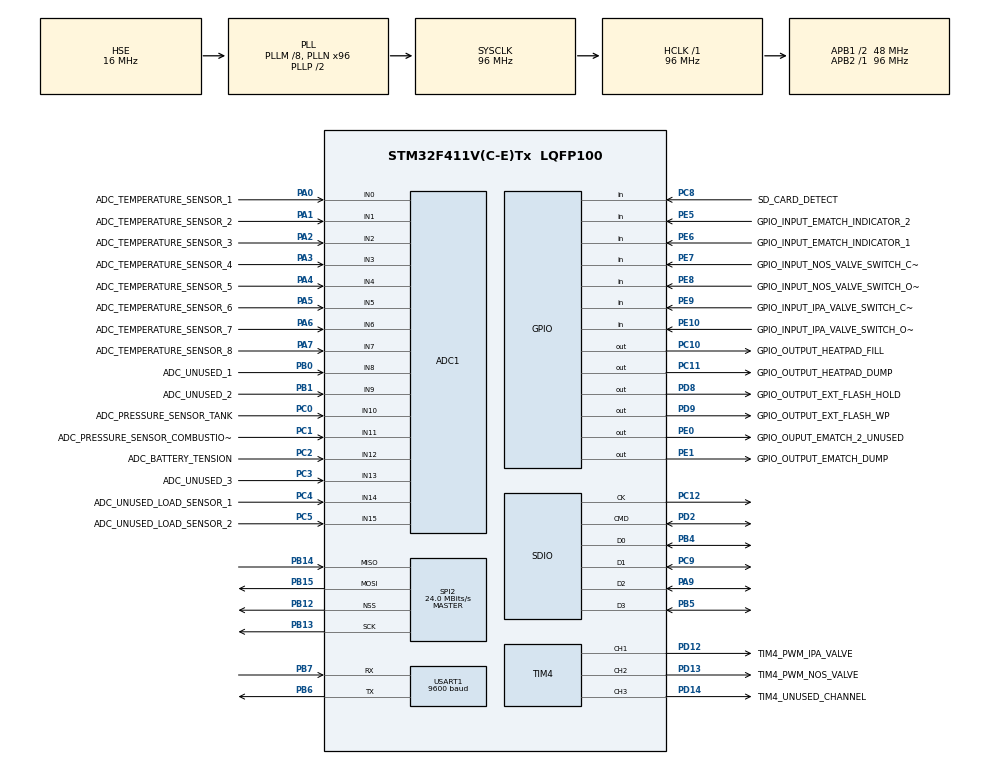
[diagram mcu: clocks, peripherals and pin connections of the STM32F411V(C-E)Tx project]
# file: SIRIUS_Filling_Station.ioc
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ADC1.Channel-0\#ChannelRegularConversion=ADC_CHANNEL_0
ADC1.Channel-1\#ChannelRegularConversion=ADC_CHANNEL_1
ADC1.Channel-10\#ChannelRegularConversion=ADC_CHANNEL_10
ADC1.Channel-11\#ChannelRegularConversion=ADC_CHANNEL_11
ADC1.Channel-12\#ChannelRegularConversion=ADC_CHANNEL_12
ADC1.Channel-13\#ChannelRegularConversion=ADC_CHANNEL_13
ADC1.Channel-14\#ChannelRegularConversion=ADC_CHANNEL_14
ADC1.Channel-15\#ChannelRegularConversion=ADC_CHANNEL_15
ADC1.Channel-2\#ChannelRegularConversion=ADC_CHANNEL_2
ADC1.Channel-3\#ChannelRegularConversion=ADC_CHANNEL_3
ADC1.Channel-4\#ChannelRegularConversion=ADC_CHANNEL_4
ADC1.Channel-5\#ChannelRegularConversion=ADC_CHANNEL_5
ADC1.Channel-6\#ChannelRegularConversion=ADC_CHANNEL_6
ADC1.Channel-7\#ChannelRegularConversion=ADC_CHANNEL_7
ADC1.Channel-8\#ChannelRegularConversion=ADC_CHANNEL_8
ADC1.Channel-9\#ChannelRegularConversion=ADC_CHANNEL_9
ADC1.ClockPrescaler=ADC_CLOCK_SYNC_PCLK_DIV4
ADC1.ContinuousConvMode=ENABLE
ADC1.DMAContinuousRequests=ENABLE
ADC1.NbrOfConversion=16
ADC1.NbrOfConversionFlag=1
ADC1.Rank-0\#ChannelRegularConversion=1
ADC1.Rank-1\#ChannelRegularConversion=2
ADC1.Rank-10\#ChannelRegularConversion=11
ADC1.Rank-11\#ChannelRegularConversion=12
ADC1.Rank-12\#ChannelRegularConversion=13
ADC1.Rank-13\#ChannelRegularConversion=14
ADC1.Rank-14\#ChannelRegularConversion=15
ADC1.Rank-15\#ChannelRegularConversion=16
ADC1.Rank-2\#ChannelRegularConversion=3
ADC1.Rank-3\#ChannelRegularConversion=4
ADC1.Rank-4\#ChannelRegularConversion=5
ADC1.Rank-5\#ChannelRegularConversion=6
ADC1.Rank-6\#ChannelRegularConversion=7
ADC1.Rank-7\#ChannelRegularConversion=8
ADC1.Rank-8\#ChannelRegularConversion=9
ADC1.Rank-9\#ChannelRegularConversion=10
ADC1.SamplingTime-0\#ChannelRegularConversion=ADC_SAMPLETIME_144CYCLES
ADC1.SamplingTime-1\#ChannelRegularConversion=ADC_SAMPLETIME_144CYCLES
ADC1.SamplingTime-10\#ChannelRegularConversion=ADC_SAMPLETIME_144CYCLES
ADC1.SamplingTime-11\#ChannelRegularConversion=ADC_SAMPLETIME_144CYCLES
ADC1.SamplingTime-12\#ChannelRegularConversion=ADC_SAMPLETIME_144CYCLES
ADC1.SamplingTime-13\#ChannelRegularConversion=ADC_SAMPLETIME_144CYCLES
ADC1.SamplingTime-14\#ChannelRegularConversion=ADC_SAMPLETIME_144CYCLES
ADC1.SamplingTime-15\#ChannelRegularConversion=ADC_SAMPLETIME_144CYCLES
ADC1.SamplingTime-2\#ChannelRegularConversion=ADC_SAMPLETIME_144CYCLES
ADC1.SamplingTime-3\#ChannelRegularConversion=ADC_SAMPLETIME_144CYCLES
ADC1.SamplingTime-4\#ChannelRegularConversion=ADC_SAMPLETIME_144CYCLES
ADC1.SamplingTime-5\#ChannelRegularConversion=ADC_SAMPLETIME_144CYCLES
ADC1.SamplingTime-6\#ChannelRegularConversion=ADC_SAMPLETIME_144CYCLES
ADC1.SamplingTime-7\#ChannelRegularConversion=ADC_SAMPLETIME_144CYCLES
ADC1.SamplingTime-8\#ChannelRegularConversion=ADC_SAMPLETIME_144CYCLES
ADC1.SamplingTime-9\#ChannelRegularConversion=ADC_SAMPLETIME_144CYCLES
ADC1.ScanConvMode=ENABLE
ADC1.master=1
Dma.ADC1.0.Direction=DMA_PERIPH_TO_MEMORY
Dma.ADC1.0.FIFOMode=DMA_FIFOMODE_DISABLE
Dma.ADC1.0.Instance=DMA2_Stream0
Dma.ADC1.0.MemDataAlignment=DMA_MDATAALIGN_HALFWORD
Dma.ADC1.0.MemInc=DMA_MINC_ENABLE
Dma.ADC1.0.Mode=DMA_CIRCULAR
Dma.ADC1.0.PeriphDataAlignment=DMA_PDATAALIGN_HALFWORD
Dma.ADC1.0.PeriphInc=DMA_PINC_DISABLE
Dma.ADC1.0.Priority=DMA_PRIORITY_HIGH
Dma.Request0=ADC1
Dma.Request1=USART1_RX
Dma.Request2=USART1_TX
Dma.Request3=SDIO_RX
Dma.Request4=SDIO_TX
Dma.SDIO_RX.3.Direction=DMA_PERIPH_TO_MEMORY
Dma.SDIO_RX.3.FIFOMode=DMA_FIFOMODE_ENABLE
Dma.SDIO_RX.3.FIFOThreshold=DMA_FIFO_THRESHOLD_FULL
Dma.SDIO_RX.3.Instance=DMA2_Stream6
Dma.SDIO_RX.3.MemBurst=DMA_MBURST_INC4
Dma.SDIO_RX.3.MemDataAlignment=DMA_MDATAALIGN_WORD
Dma.SDIO_RX.3.MemInc=DMA_MINC_ENABLE
Dma.SDIO_RX.3.Mode=DMA_PFCTRL
Dma.SDIO_RX.3.PeriphBurst=DMA_PBURST_INC4
Dma.SDIO_RX.3.PeriphDataAlignment=DMA_PDATAALIGN_WORD
Dma.SDIO_RX.3.PeriphInc=DMA_PINC_DISABLE
Dma.SDIO_RX.3.Priority=DMA_PRIORITY_LOW
Dma.SDIO_TX.4.Direction=DMA_MEMORY_TO_PERIPH
Dma.SDIO_TX.4.FIFOMode=DMA_FIFOMODE_ENABLE
Dma.SDIO_TX.4.FIFOThreshold=DMA_FIFO_THRESHOLD_FULL
Dma.SDIO_TX.4.Instance=DMA2_Stream3
Dma.SDIO_TX.4.MemBurst=DMA_MBURST_INC4
Dma.SDIO_TX.4.MemDataAlignment=DMA_MDATAALIGN_WORD
Dma.SDIO_TX.4.MemInc=DMA_MINC_ENABLE
Dma.SDIO_TX.4.Mode=DMA_PFCTRL
Dma.SDIO_TX.4.PeriphBurst=DMA_PBURST_INC4
Dma.SDIO_TX.4.PeriphDataAlignment=DMA_PDATAALIGN_WORD
Dma.SDIO_TX.4.PeriphInc=DMA_PINC_DISABLE
Dma.SDIO_TX.4.Priority=DMA_PRIORITY_VERY_HIGH
Dma.USART1_RX.1.Direction=DMA_PERIPH_TO_MEMORY
Dma.USART1_RX.1.FIFOMode=DMA_FIFOMODE_DISABLE
Dma.USART1_RX.1.Instance=DMA2_Stream2
Dma.USART1_RX.1.MemDataAlignment=DMA_MDATAALIGN_BYTE
Dma.USART1_RX.1.MemInc=DMA_MINC_ENABLE
Dma.USART1_RX.1.Mode=DMA_NORMAL
Dma.USART1_RX.1.PeriphDataAlignment=DMA_PDATAALIGN_BYTE
Dma.USART1_RX.1.PeriphInc=DMA_PINC_DISABLE
Dma.USART1_RX.1.Priority=DMA_PRIORITY_VERY_HIGH
Dma.USART1_TX.2.Direction=DMA_MEMORY_TO_PERIPH
Dma.USART1_TX.2.FIFOMode=DMA_FIFOMODE_DISABLE
Dma.USART1_TX.2.Instance=DMA2_Stream7
Dma.USART1_TX.2.MemDataAlignment=DMA_MDATAALIGN_BYTE
Dma.USART1_TX.2.MemInc=DMA_MINC_ENABLE
Dma.USART1_TX.2.Mode=DMA_NORMAL
Dma.USART1_TX.2.PeriphDataAlignment=DMA_PDATAALIGN_BYTE
Dma.USART1_TX.2.PeriphInc=DMA_PINC_DISABLE
Dma.USART1_TX.2.Priority=DMA_PRIORITY_MEDIUM
FATFS.BSP.number=1
FATFS.USE_DMA_CODE_SD=1
FATFS._FS_LOCK=10
FATFS._FS_TIMEOUT=100
FATFS._MAX_LFN=50
FATFS._USE_LFN=2
FATFS0.BSP.STBoard=false
FATFS0.BSP.api=Unknown
FATFS0.BSP.instance=PC8
FATFS0.BSP.ip=GPIO
FATFS0.BSP.mode=Input
FATFS0.BSP.name=Detect_SDIO
FATFS0.BSP.solution=PC8
IWDG.Prescaler=IWDG_PRESCALER_256
Mcu.Family=STM32F4
Mcu.Name=STM32F411V(C-E)Tx
Mcu.Package=LQFP100
NVIC.DMA2_Stream0_IRQn=true\:0\:0\:false\:false\:true\:false\:true\:true
NVIC.DMA2_Stream2_IRQn=true\:0\:0\:false\:false\:true\:false\:true\:true
NVIC.DMA2_Stream3_IRQn=true\:0\:0\:false\:false\:true\:false\:true\:true
NVIC.DMA2_Stream6_IRQn=true\:0\:0\:false\:false\:true\:false\:true\:true
NVIC.DMA2_Stream7_IRQn=true\:0\:0\:false\:false\:true\:false\:true\:true
NVIC.PriorityGroup=NVIC_PRIORITYGROUP_4
NVIC.SDIO_IRQn=true\:0\:0\:false\:false\:true\:true\:true\:true
NVIC.USART1_IRQn=true\:0\:0\:false\:false\:true\:true\:true\:true
PA0-WKUP.GPIO_Label=ADC_TEMPERATURE_SENSOR_1
PA0-WKUP.Signal=ADCx_IN0
PA1.GPIO_Label=ADC_TEMPERATURE_SENSOR_2
PA1.Signal=ADCx_IN1
PA13.Mode=Serial_Wire
PA13.Signal=SYS_JTMS-SWDIO
PA14.Mode=Serial_Wire
PA14.Signal=SYS_JTCK-SWCLK
PA2.GPIO_Label=ADC_TEMPERATURE_SENSOR_3
PA2.Signal=ADCx_IN2
PA3.GPIO_Label=ADC_TEMPERATURE_SENSOR_4
PA3.Signal=ADCx_IN3
PA4.GPIO_Label=ADC_TEMPERATURE_SENSOR_5
PA4.Signal=ADCx_IN4
PA5.GPIO_Label=ADC_TEMPERATURE_SENSOR_6
PA5.Signal=ADCx_IN5
PA6.GPIO_Label=ADC_TEMPERATURE_SENSOR_7
PA6.Signal=ADCx_IN6
PA7.GPIO_Label=ADC_TEMPERATURE_SENSOR_8
PA7.Signal=ADCx_IN7
PA9.Mode=SD_4_bits_Wide_bus
PA9.Signal=SDIO_D2
PB0.GPIO_Label=ADC_UNUSED_1
PB0.Signal=ADCx_IN8
PB1.GPIO_Label=ADC_UNUSED_2
PB1.Signal=ADCx_IN9
PB12.Mode=NSS_Signal_Hard_Output
PB12.Signal=SPI2_NSS
PB13.Mode=Full_Duplex_Master
PB13.Signal=SPI2_SCK
PB14.Mode=Full_Duplex_Master
PB14.Signal=SPI2_MISO
PB15.Mode=Full_Duplex_Master
PB15.Signal=SPI2_MOSI
PB4.Mode=SD_4_bits_Wide_bus
PB4.Signal=SDIO_D0
PB5.Mode=SD_4_bits_Wide_bus
PB5.Signal=SDIO_D3
PB6.Mode=Asynchronous
PB6.Signal=USART1_TX
PB7.Mode=Asynchronous
PB7.Signal=USART1_RX
PC0.GPIO_Label=ADC_PRESSURE_SENSOR_TANK
PC0.Signal=ADCx_IN10
PC1.GPIO_Label=ADC_PRESSURE_SENSOR_COMBUSTION_CHAMBER
PC1.Signal=ADCx_IN11
PC10.GPIO_Label=GPIO_OUTPUT_HEATPAD_FILL
PC10.Signal=GPIO_Output
PC11.GPIO_Label=GPIO_OUTPUT_HEATPAD_DUMP
PC11.Signal=GPIO_Output
PC12.Mode=SD_4_bits_Wide_bus
PC12.Signal=SDIO_CK
PC14-OSC32_IN.Mode=LSE-External-Clock-Source
PC14-OSC32_IN.Signal=RCC_OSC32_IN
PC15-OSC32_OUT.Mode=LSE-External-Clock-Source
PC15-OSC32_OUT.Signal=RCC_OSC32_OUT
PC2.GPIO_Label=ADC_BATTERY_TENSION
PC2.Signal=ADCx_IN12
PC3.GPIO_Label=ADC_UNUSED_3
PC3.Signal=ADCx_IN13
PC4.GPIO_Label=ADC_UNUSED_LOAD_SENSOR_1
PC4.Signal=ADCx_IN14
PC5.GPIO_Label=ADC_UNUSED_LOAD_SENSOR_2
PC5.Signal=ADCx_IN15
PC8.GPIO_Label=SD_CARD_DETECT
PC8.Signal=GPIO_Input
PC9.Mode=SD_4_bits_Wide_bus
PC9.Signal=SDIO_D1
PD12.GPIO_Label=TIM4_PWM_IPA_VALVE
PD12.Signal=S_TIM4_CH1
PD13.GPIO_Label=TIM4_PWM_NOS_VALVE
PD13.Signal=S_TIM4_CH2
PD14.GPIO_Label=TIM4_UNUSED_CHANNEL
PD14.Signal=S_TIM4_CH3
PD2.Mode=SD_4_bits_Wide_bus
PD2.Signal=SDIO_CMD
PD8.GPIO_Label=GPIO_OUTPUT_EXT_FLASH_HOLD
PD8.PinState=GPIO_PIN_SET
PD8.Signal=GPIO_Output
PD9.GPIO_Label=GPIO_OUTPUT_EXT_FLASH_WP
PD9.PinState=GPIO_PIN_SET
PD9.Signal=GPIO_Output
PE0.GPIO_Label=GPIO_OUPUT_EMATCH_2_UNUSED
PE0.Signal=GPIO_Output
PE1.GPIO_Label=GPIO_OUTPUT_EMATCH_DUMP
PE1.GPIO_PuPd=GPIO_NOPULL
PE1.Signal=GPIO_Output
PE10.GPIO_Label=GPIO_INPUT_IPA_VALVE_SWITCH_OPENED
PE10.Signal=GPIO_Input
PE5.GPIO_Label=GPIO_INPUT_EMATCH_INDICATOR_2
PE5.Signal=GPIO_Input
PE6.GPIO_Label=GPIO_INPUT_EMATCH_INDICATOR_1
PE6.Signal=GPIO_Input
PE7.GPIO_Label=GPIO_INPUT_NOS_VALVE_SWITCH_CLOSED
PE7.Signal=GPIO_Input
PE8.GPIO_Label=GPIO_INPUT_NOS_VALVE_SWITCH_OPENED
PE8.Signal=GPIO_Input
PE9.GPIO_Label=GPIO_INPUT_IPA_VALVE_SWITCH_CLOSED
PE9.Signal=GPIO_Input
PH0\ -\ OSC_IN.Mode=HSE-External-Oscillator
PH0\ -\ OSC_IN.Signal=RCC_OSC_IN
PH1\ -\ OSC_OUT.Mode=HSE-External-Oscillator
PH1\ -\ OSC_OUT.Signal=RCC_OSC_OUT
ProjectManager.HeapSize=0x1000
ProjectManager.StackSize=0x1800
ProjectManager.TargetToolchain=EWARM V8.50
RCC.48MHZClocksFreq_Value=48000000
RCC.AHBFreq_Value=96000000
RCC.APB1CLKDivider=RCC_HCLK_DIV2
RCC.APB1Freq_Value=48000000
RCC.APB1TimFreq_Value=96000000
RCC.APB2Freq_Value=96000000
RCC.APB2TimFreq_Value=96000000
RCC.CortexFreq_Value=96000000
RCC.HCLKFreq_Value=96000000
RCC.HSE_VALUE=16000000
RCC.HSI_VALUE=16000000
RCC.LSE_VALUE=32768
RCC.PLLM=8
RCC.PLLN=96
RCC.PLLSourceVirtual=RCC_PLLSOURCE_HSE
RCC.SYSCLKFreq_VALUE=96000000
RCC.SYSCLKSource=RCC_SYSCLKSOURCE_PLLCLK
RCC.VCOOutputFreq_Value=192000000
SDIO.ClockDiv=2
SDIO.HardwareFlowControl=SDIO_HARDWARE_FLOW_CONTROL_ENABLE
SH.ADCx_IN0.0=ADC1_IN0,IN0
SH.ADCx_IN1.0=ADC1_IN1,IN1
SH.ADCx_IN10.0=ADC1_IN10,IN10
SH.ADCx_IN11.0=ADC1_IN11,IN11
SH.ADCx_IN12.0=ADC1_IN12,IN12
SH.ADCx_IN13.0=ADC1_IN13,IN13
SH.ADCx_IN14.0=ADC1_IN14,IN14
SH.ADCx_IN15.0=ADC1_IN15,IN15
SH.ADCx_IN2.0=ADC1_IN2,IN2
SH.ADCx_IN3.0=ADC1_IN3,IN3
SH.ADCx_IN4.0=ADC1_IN4,IN4
SH.ADCx_IN5.0=ADC1_IN5,IN5
SH.ADCx_IN6.0=ADC1_IN6,IN6
SH.ADCx_IN7.0=ADC1_IN7,IN7
SH.ADCx_IN8.0=ADC1_IN8,IN8
SH.ADCx_IN9.0=ADC1_IN9,IN9
SH.S_TIM4_CH1.0=TIM4_CH1,PWM Generation1 CH1
SH.S_TIM4_CH2.0=TIM4_CH2,PWM Generation2 CH2
SH.S_TIM4_CH3.0=TIM4_CH3,PWM Generation3 CH3
SPI2.BaudRatePrescaler=SPI_BAUDRATEPRESCALER_2
SPI2.CalculateBaudRate=24.0 MBits/s
SPI2.Direction=SPI_DIRECTION_2LINES
SPI2.Mode=SPI_MODE_MASTER
SPI2.VirtualNSS=VM_NSSHARD
SPI2.VirtualType=VM_MASTER
TIM4.Channel-PWM\ Generation1\ CH1=TIM_CHANNEL_1
TIM4.Channel-PWM\ Generation2\ CH2=TIM_CHANNEL_2
TIM4.Channel-PWM\ Generation3\ CH3=TIM_CHANNEL_3
USART1.BaudRate=9600
USART1.VirtualMode=VM_ASYNC
VP_CRC_VS_CRC.Mode=CRC_Activate
VP_FATFS_VS_SDIO.Mode=SDIO
VP_IWDG_VS_IWDG.Mode=IWDG_Activate
VP_TIM4_VS_ClockSourceINT.Mode=Internal
board=custom

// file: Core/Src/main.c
/* USER CODE BEGIN Header */
/**
  ******************************************************************************
  * @file           : main.c
  * @brief          : Main program body
  ******************************************************************************
  * @attention
  *
  * Copyright (c) 2024 STMicroelectronics.
  * All rights reserved.
  *
  * This software is licensed under terms that can be found in the LICENSE file
  * in the root directory of this software component.
  * If no LICENSE file comes with this software, it is provided AS-IS.
  *
  ******************************************************************************
  */
/* USER CODE END Header */
#include "main.h"
#include "fatfs.h"

/* USER CODE BEGIN Includes */
#include "FillingStation.h"
/* USER CODE END Includes */

ADC_HandleTypeDef hadc1;
DMA_HandleTypeDef hdma_adc1;

CRC_HandleTypeDef hcrc;

IWDG_HandleTypeDef hiwdg;

SD_HandleTypeDef hsd;
DMA_HandleTypeDef hdma_sdio_rx;
DMA_HandleTypeDef hdma_sdio_tx;

SPI_HandleTypeDef hspi2;

TIM_HandleTypeDef htim4;

UART_HandleTypeDef huart1;
DMA_HandleTypeDef hdma_usart1_rx;
DMA_HandleTypeDef hdma_usart1_tx;

/* USER CODE BEGIN PV */
GPIO gpios[FILLING_STATION_GPIO_AMOUNT] = {0};
ADC12 adc                               = {0};
PWM pwms[FILLING_STATION_PWM_AMOUNT]    = {0};
UART uart                               = {0};
volatile USB usb                        = {0};

Valve valves[FILLING_STATION_VALVE_AMOUNT]                                      = {0};
Heater heaters[FILLING_STATION_HEATPAD_AMOUNT]                                  = {0};
PressureSensor pressureSensors[FILLING_STATION_PRESSURE_SENSOR_AMOUNT]          = {0};
TemperatureSensor temperatureSensors[FILLING_STATION_TEMPERATURE_SENSOR_AMOUNT] = {0};
Telecommunication telecommunication                                             = {0};
Igniter igniter                                                                 = {0};
Button emergencyButton                                                          = {0};

Storage storageDevices[1] = {0};

static volatile EngineSDCardBuffer sdCardBuffer = {0};

/* USER CODE END PV */

void SystemClock_Config(void);
static void MX_GPIO_Init(void);
static void MX_DMA_Init(void);
static void MX_ADC1_Init(void);
static void MX_USART1_UART_Init(void);
static void MX_TIM4_Init(void);
static void MX_SPI2_Init(void);
static void MX_CRC_Init(void);
static void MX_IWDG_Init(void);
static void MX_SDIO_SD_Init(void);
/* USER CODE BEGIN PFP */

static void setupGPIOs();
static void setupPWMs();
static void setupADC();
static void setupUART();

static void setupValves();
static void setupHeaters();
static void setupIgniter();
static void setupEmergencyButton();
static void setupTemperatureSensors();
static void setupPressureSensors();
static void setupTelecommunication();
static void setupStorageDevices();

/* USER CODE END PFP */

int main(void)
{

  /* MCU Configuration--------------------------------------------------------*/

  /* Reset of all peripherals, Initializes the Flash interface and the Systick. */
  HAL_Init();

  /* Configure the system clock */
  SystemClock_Config();

  /* Initialize all configured peripherals */
  MX_GPIO_Init();
  MX_DMA_Init();
  MX_ADC1_Init();
  MX_USART1_UART_Init();
  MX_TIM4_Init();
  MX_SPI2_Init();
  MX_CRC_Init();
  MX_IWDG_Init();
  MX_SDIO_SD_Init();
  MX_FATFS_Init();
  /* USER CODE BEGIN 2 */

  // Setup Peripherals
  setupADC();
  setupPWMs();
  setupGPIOs();
  setupUART();

  // Setup Sensors/Devices
  setupValves();
  setupHeaters();
  setupPressureSensors();
  setupTemperatureSensors();
  setupTelecommunication();
  setupIgniter();
  setupEmergencyButton();
  setupStorageDevices();

  FillingStation_init(pwms, &adc, gpios, &uart, valves, heaters, temperatureSensors, &telecommunication, &igniter, &emergencyButton,storageDevices, &sdCardBuffer, &hcrc);
  /* USER CODE END 2 */

  /* Infinite loop */
  /* USER CODE BEGIN WHILE */

  while (1)
  {
    HAL_IWDG_Refresh(&hiwdg);
    FillingStation_tick(HAL_GetTick());
    //uint8_t buttonPressed = HAL_GPIO_ReadPin(GPIOE, GPIO_PIN_5);
    /* USER CODE END WHILE */

  }
}

void SystemClock_Config(void)
{
  RCC_OscInitTypeDef RCC_OscInitStruct = {0};
  RCC_ClkInitTypeDef RCC_ClkInitStruct = {0};

  /** Configure the main internal regulator output voltage
  */
  __HAL_RCC_PWR_CLK_ENABLE();
  __HAL_PWR_VOLTAGESCALING_CONFIG(PWR_REGULATOR_VOLTAGE_SCALE1);

  /** Initializes the RCC Oscillators according to the specified parameters
  * in the RCC_OscInitTypeDef structure.
  */
  RCC_OscInitStruct.OscillatorType = RCC_OSCILLATORTYPE_LSI|RCC_OSCILLATORTYPE_HSE;
  RCC_OscInitStruct.HSEState = RCC_HSE_ON;
  RCC_OscInitStruct.LSIState = RCC_LSI_ON;
  RCC_OscInitStruct.PLL.PLLState = RCC_PLL_ON;
  RCC_OscInitStruct.PLL.PLLSource = RCC_PLLSOURCE_HSE;
  RCC_OscInitStruct.PLL.PLLM = 8;
  RCC_OscInitStruct.PLL.PLLN = 96;
  RCC_OscInitStruct.PLL.PLLP = RCC_PLLP_DIV2;
  RCC_OscInitStruct.PLL.PLLQ = 4;
  if (HAL_RCC_OscConfig(&RCC_OscInitStruct) != HAL_OK)
  {
    Error_Handler();
  }

  /** Initializes the CPU, AHB and APB buses clocks
  */
  RCC_ClkInitStruct.ClockType = RCC_CLOCKTYPE_HCLK|RCC_CLOCKTYPE_SYSCLK
                              |RCC_CLOCKTYPE_PCLK1|RCC_CLOCKTYPE_PCLK2;
  RCC_ClkInitStruct.SYSCLKSource = RCC_SYSCLKSOURCE_PLLCLK;
  RCC_ClkInitStruct.AHBCLKDivider = RCC_SYSCLK_DIV1;
  RCC_ClkInitStruct.APB1CLKDivider = RCC_HCLK_DIV2;
  RCC_ClkInitStruct.APB2CLKDivider = RCC_HCLK_DIV1;

  if (HAL_RCC_ClockConfig(&RCC_ClkInitStruct, FLASH_LATENCY_3) != HAL_OK)
  {
    Error_Handler();
  }
}

static void MX_ADC1_Init(void)
{

  ADC_ChannelConfTypeDef sConfig = {0};

  /** Configure the global features of the ADC (Clock, Resolution, Data Alignment and number of conversion)
  */
  hadc1.Instance = ADC1;
  hadc1.Init.ClockPrescaler = ADC_CLOCK_SYNC_PCLK_DIV4;
  hadc1.Init.Resolution = ADC_RESOLUTION_12B;
  hadc1.Init.ScanConvMode = ENABLE;
  hadc1.Init.ContinuousConvMode = ENABLE;
  hadc1.Init.DiscontinuousConvMode = DISABLE;
  hadc1.Init.ExternalTrigConvEdge = ADC_EXTERNALTRIGCONVEDGE_NONE;
  hadc1.Init.ExternalTrigConv = ADC_SOFTWARE_START;
  hadc1.Init.DataAlign = ADC_DATAALIGN_RIGHT;
  hadc1.Init.NbrOfConversion = 16;
  hadc1.Init.DMAContinuousRequests = ENABLE;
  hadc1.Init.EOCSelection = ADC_EOC_SINGLE_CONV;
  if (HAL_ADC_Init(&hadc1) != HAL_OK)
  {
    Error_Handler();
  }

  /** Configure for the selected ADC regular channel its corresponding rank in the sequencer and its sample time.
  */
  sConfig.Channel = ADC_CHANNEL_0;
  sConfig.Rank = 1;
  sConfig.SamplingTime = ADC_SAMPLETIME_144CYCLES;
  if (HAL_ADC_ConfigChannel(&hadc1, &sConfig) != HAL_OK)
  {
    Error_Handler();
  }

  /** Configure for the selected ADC regular channel its corresponding rank in the sequencer and its sample time.
  */
  sConfig.Channel = ADC_CHANNEL_1;
  sConfig.Rank = 2;
  if (HAL_ADC_ConfigChannel(&hadc1, &sConfig) != HAL_OK)
  {
    Error_Handler();
  }

  /** Configure for the selected ADC regular channel its corresponding rank in the sequencer and its sample time.
  */
  sConfig.Channel = ADC_CHANNEL_2;
  sConfig.Rank = 3;
  if (HAL_ADC_ConfigChannel(&hadc1, &sConfig) != HAL_OK)
  {
    Error_Handler();
  }

  /** Configure for the selected ADC regular channel its corresponding rank in the sequencer and its sample time.
  */
  sConfig.Channel = ADC_CHANNEL_3;
  sConfig.Rank = 4;
  if (HAL_ADC_ConfigChannel(&hadc1, &sConfig) != HAL_OK)
  {
    Error_Handler();
  }

  /** Configure for the selected ADC regular channel its corresponding rank in the sequencer and its sample time.
  */
  sConfig.Channel = ADC_CHANNEL_4;
  sConfig.Rank = 5;
  if (HAL_ADC_ConfigChannel(&hadc1, &sConfig) != HAL_OK)
  {
    Error_Handler();
  }

  /** Configure for the selected ADC regular channel its corresponding rank in the sequencer and its sample time.
  */
  sConfig.Channel = ADC_CHANNEL_5;
  sConfig.Rank = 6;
  if (HAL_ADC_ConfigChannel(&hadc1, &sConfig) != HAL_OK)
  {
    Error_Handler();
  }

  /** Configure for the selected ADC regular channel its corresponding rank in the sequencer and its sample time.
  */
  sConfig.Channel = ADC_CHANNEL_6;
  sConfig.Rank = 7;
  if (HAL_ADC_ConfigChannel(&hadc1, &sConfig) != HAL_OK)
  {
    Error_Handler();
  }

  /** Configure for the selected ADC regular channel its corresponding rank in the sequencer and its sample time.
  */
  sConfig.Channel = ADC_CHANNEL_7;
  sConfig.Rank = 8;
  if (HAL_ADC_ConfigChannel(&hadc1, &sConfig) != HAL_OK)
  {
    Error_Handler();
  }

  /** Configure for the selected ADC regular channel its corresponding rank in the sequencer and its sample time.
  */
  sConfig.Channel = ADC_CHANNEL_8;
  sConfig.Rank = 9;
  if (HAL_ADC_ConfigChannel(&hadc1, &sConfig) != HAL_OK)
  {
    Error_Handler();
  }

  /** Configure for the selected ADC regular channel its corresponding rank in the sequencer and its sample time.
  */
  sConfig.Channel = ADC_CHANNEL_9;
  sConfig.Rank = 10;
  if (HAL_ADC_ConfigChannel(&hadc1, &sConfig) != HAL_OK)
  {
    Error_Handler();
  }

  /** Configure for the selected ADC regular channel its corresponding rank in the sequencer and its sample time.
  */
  sConfig.Channel = ADC_CHANNEL_10;
  sConfig.Rank = 11;
  if (HAL_ADC_ConfigChannel(&hadc1, &sConfig) != HAL_OK)
  {
    Error_Handler();
  }

  /** Configure for the selected ADC regular channel its corresponding rank in the sequencer and its sample time.
  */
  sConfig.Channel = ADC_CHANNEL_11;
  sConfig.Rank = 12;
  if (HAL_ADC_ConfigChannel(&hadc1, &sConfig) != HAL_OK)
  {
    Error_Handler();
  }

  /** Configure for the selected ADC regular channel its corresponding rank in the sequencer and its sample time.
  */
  sConfig.Channel = ADC_CHANNEL_12;
  sConfig.Rank = 13;
  if (HAL_ADC_ConfigChannel(&hadc1, &sConfig) != HAL_OK)
  {
    Error_Handler();
  }

  /** Configure for the selected ADC regular channel its corresponding rank in the sequencer and its sample time.
  */
  sConfig.Channel = ADC_CHANNEL_13;
  sConfig.Rank = 14;
  if (HAL_ADC_ConfigChannel(&hadc1, &sConfig) != HAL_OK)
  {
    Error_Handler();
  }

  /** Configure for the selected ADC regular channel its corresponding rank in the sequencer and its sample time.
  */
  sConfig.Channel = ADC_CHANNEL_14;
  sConfig.Rank = 15;
  if (HAL_ADC_ConfigChannel(&hadc1, &sConfig) != HAL_OK)
  {
    Error_Handler();
  }

  /** Configure for the selected ADC regular channel its corresponding rank in the sequencer and its sample time.
  */
  sConfig.Channel = ADC_CHANNEL_15;
  sConfig.Rank = 16;
  if (HAL_ADC_ConfigChannel(&hadc1, &sConfig) != HAL_OK)
  {
    Error_Handler();
  }

}

static void MX_CRC_Init(void)
{

  hcrc.Instance = CRC;
  if (HAL_CRC_Init(&hcrc) != HAL_OK)
  {
    Error_Handler();
  }

}

static void MX_IWDG_Init(void)
{

  hiwdg.Instance = IWDG;
  hiwdg.Init.Prescaler = IWDG_PRESCALER_256;
  hiwdg.Init.Reload = 4095;
  if (HAL_IWDG_Init(&hiwdg) != HAL_OK)
  {
    Error_Handler();
  }

}

static void MX_SDIO_SD_Init(void)
{

  hsd.Instance = SDIO;
  hsd.Init.ClockEdge = SDIO_CLOCK_EDGE_RISING;
  hsd.Init.ClockBypass = SDIO_CLOCK_BYPASS_DISABLE;
  hsd.Init.ClockPowerSave = SDIO_CLOCK_POWER_SAVE_DISABLE;
  hsd.Init.BusWide = SDIO_BUS_WIDE_4B;
  hsd.Init.HardwareFlowControl = SDIO_HARDWARE_FLOW_CONTROL_ENABLE;
  hsd.Init.ClockDiv = 2;
  /* USER CODE BEGIN SDIO_Init 2 */
  hsd.Init.BusWide = SDIO_BUS_WIDE_1B;
  if (HAL_SD_Init(&hsd) != HAL_OK) {
    Error_Handler();
  }

  if (HAL_SD_ConfigWideBusOperation(&hsd, SDIO_BUS_WIDE_4B) != HAL_OK) {
    Error_Handler();
  }
  /* USER CODE END SDIO_Init 2 */

}

static void MX_SPI2_Init(void)
{

  /* SPI2 parameter configuration*/
  hspi2.Instance = SPI2;
  hspi2.Init.Mode = SPI_MODE_MASTER;
  hspi2.Init.Direction = SPI_DIRECTION_2LINES;
  hspi2.Init.DataSize = SPI_DATASIZE_8BIT;
  hspi2.Init.CLKPolarity = SPI_POLARITY_LOW;
  hspi2.Init.CLKPhase = SPI_PHASE_1EDGE;
  hspi2.Init.NSS = SPI_NSS_HARD_OUTPUT;
  hspi2.Init.BaudRatePrescaler = SPI_BAUDRATEPRESCALER_2;
  hspi2.Init.FirstBit = SPI_FIRSTBIT_MSB;
  hspi2.Init.TIMode = SPI_TIMODE_DISABLE;
  hspi2.Init.CRCCalculation = SPI_CRCCALCULATION_DISABLE;
  hspi2.Init.CRCPolynomial = 10;
  if (HAL_SPI_Init(&hspi2) != HAL_OK)
  {
    Error_Handler();
  }

}

static void MX_TIM4_Init(void)
{

  TIM_ClockConfigTypeDef sClockSourceConfig = {0};
  TIM_MasterConfigTypeDef sMasterConfig = {0};
  TIM_OC_InitTypeDef sConfigOC = {0};

  htim4.Instance = TIM4;
  htim4.Init.Prescaler = 0;
  htim4.Init.CounterMode = TIM_COUNTERMODE_UP;
  htim4.Init.Period = 65535;
  htim4.Init.ClockDivision = TIM_CLOCKDIVISION_DIV1;
  htim4.Init.AutoReloadPreload = TIM_AUTORELOAD_PRELOAD_DISABLE;
  if (HAL_TIM_Base_Init(&htim4) != HAL_OK)
  {
    Error_Handler();
  }
  sClockSourceConfig.ClockSource = TIM_CLOCKSOURCE_INTERNAL;
  if (HAL_TIM_ConfigClockSource(&htim4, &sClockSourceConfig) != HAL_OK)
  {
    Error_Handler();
  }
  if (HAL_TIM_PWM_Init(&htim4) != HAL_OK)
  {
    Error_Handler();
  }
  sMasterConfig.MasterOutputTrigger = TIM_TRGO_RESET;
  sMasterConfig.MasterSlaveMode = TIM_MASTERSLAVEMODE_DISABLE;
  if (HAL_TIMEx_MasterConfigSynchronization(&htim4, &sMasterConfig) != HAL_OK)
  {
    Error_Handler();
  }
  sConfigOC.OCMode = TIM_OCMODE_PWM1;
  sConfigOC.Pulse = 0;
  sConfigOC.OCPolarity = TIM_OCPOLARITY_HIGH;
  sConfigOC.OCFastMode = TIM_OCFAST_DISABLE;
  if (HAL_TIM_PWM_ConfigChannel(&htim4, &sConfigOC, TIM_CHANNEL_1) != HAL_OK)
  {
    Error_Handler();
  }
  if (HAL_TIM_PWM_ConfigChannel(&htim4, &sConfigOC, TIM_CHANNEL_2) != HAL_OK)
  {
    Error_Handler();
  }
  if (HAL_TIM_PWM_ConfigChannel(&htim4, &sConfigOC, TIM_CHANNEL_3) != HAL_OK)
  {
    Error_Handler();
  }
  HAL_TIM_MspPostInit(&htim4);

}

static void MX_USART1_UART_Init(void)
{

  huart1.Instance = USART1;
  huart1.Init.BaudRate = 9600;
  huart1.Init.WordLength = UART_WORDLENGTH_8B;
  huart1.Init.StopBits = UART_STOPBITS_1;
  huart1.Init.Parity = UART_PARITY_NONE;
  huart1.Init.Mode = UART_MODE_TX_RX;
  huart1.Init.HwFlowCtl = UART_HWCONTROL_NONE;
  huart1.Init.OverSampling = UART_OVERSAMPLING_16;
  if (HAL_UART_Init(&huart1) != HAL_OK)
  {
    Error_Handler();
  }

}

static void MX_DMA_Init(void)
{

  /* DMA controller clock enable */
  __HAL_RCC_DMA2_CLK_ENABLE();

  /* DMA interrupt init */
  /* DMA2_Stream0_IRQn interrupt configuration */
  HAL_NVIC_SetPriority(DMA2_Stream0_IRQn, 0, 0);
  HAL_NVIC_EnableIRQ(DMA2_Stream0_IRQn);
  /* DMA2_Stream2_IRQn interrupt configuration */
  HAL_NVIC_SetPriority(DMA2_Stream2_IRQn, 0, 0);
  HAL_NVIC_EnableIRQ(DMA2_Stream2_IRQn);
  /* DMA2_Stream3_IRQn interrupt configuration */
  HAL_NVIC_SetPriority(DMA2_Stream3_IRQn, 0, 0);
  HAL_NVIC_EnableIRQ(DMA2_Stream3_IRQn);
  /* DMA2_Stream6_IRQn interrupt configuration */
  HAL_NVIC_SetPriority(DMA2_Stream6_IRQn, 0, 0);
  HAL_NVIC_EnableIRQ(DMA2_Stream6_IRQn);
  /* DMA2_Stream7_IRQn interrupt configuration */
  HAL_NVIC_SetPriority(DMA2_Stream7_IRQn, 0, 0);
  HAL_NVIC_EnableIRQ(DMA2_Stream7_IRQn);

}

static void MX_GPIO_Init(void)
{
  GPIO_InitTypeDef GPIO_InitStruct = {0};

  /* GPIO Ports Clock Enable */
  __HAL_RCC_GPIOE_CLK_ENABLE();
  __HAL_RCC_GPIOC_CLK_ENABLE();
  __HAL_RCC_GPIOH_CLK_ENABLE();
  __HAL_RCC_GPIOA_CLK_ENABLE();
  __HAL_RCC_GPIOB_CLK_ENABLE();
  __HAL_RCC_GPIOD_CLK_ENABLE();

  /*Configure GPIO pin Output Level */
  HAL_GPIO_WritePin(GPIOD, GPIO_OUTPUT_EXT_FLASH_HOLD_Pin|GPIO_OUTPUT_EXT_FLASH_WP_Pin, GPIO_PIN_SET);

  /*Configure GPIO pin Output Level */
  HAL_GPIO_WritePin(GPIOC, GPIO_OUTPUT_HEATPAD_FILL_Pin|GPIO_OUTPUT_HEATPAD_DUMP_Pin, GPIO_PIN_RESET);

  /*Configure GPIO pin Output Level */
  HAL_GPIO_WritePin(GPIOE, GPIO_OUPUT_EMATCH_2_UNUSED_Pin|GPIO_OUTPUT_EMATCH_DUMP_Pin, GPIO_PIN_RESET);

  /*Configure GPIO pins : GPIO_INPUT_EMATCH_INDICATOR_2_Pin GPIO_INPUT_EMATCH_INDICATOR_1_Pin GPIO_INPUT_NOS_VALVE_SWITCH_CLOSED_Pin GPIO_INPUT_NOS_VALVE_SWITCH_OPENED_Pin
                           GPIO_INPUT_IPA_VALVE_SWITCH_CLOSED_Pin GPIO_INPUT_IPA_VALVE_SWITCH_OPENED_Pin */
  GPIO_InitStruct.Pin = GPIO_INPUT_EMATCH_INDICATOR_2_Pin|GPIO_INPUT_EMATCH_INDICATOR_1_Pin|GPIO_INPUT_NOS_VALVE_SWITCH_CLOSED_Pin|GPIO_INPUT_NOS_VALVE_SWITCH_OPENED_Pin
                          |GPIO_INPUT_IPA_VALVE_SWITCH_CLOSED_Pin|GPIO_INPUT_IPA_VALVE_SWITCH_OPENED_Pin;
  GPIO_InitStruct.Mode = GPIO_MODE_INPUT;
  GPIO_InitStruct.Pull = GPIO_NOPULL;
  HAL_GPIO_Init(GPIOE, &GPIO_InitStruct);

  /*Configure GPIO pins : GPIO_OUTPUT_EXT_FLASH_HOLD_Pin GPIO_OUTPUT_EXT_FLASH_WP_Pin */
  GPIO_InitStruct.Pin = GPIO_OUTPUT_EXT_FLASH_HOLD_Pin|GPIO_OUTPUT_EXT_FLASH_WP_Pin;
  GPIO_InitStruct.Mode = GPIO_MODE_OUTPUT_PP;
  GPIO_InitStruct.Pull = GPIO_NOPULL;
  GPIO_InitStruct.Speed = GPIO_SPEED_FREQ_LOW;
  HAL_GPIO_Init(GPIOD, &GPIO_InitStruct);

  /*Configure GPIO pin : SD_CARD_DETECT_Pin */
  GPIO_InitStruct.Pin = SD_CARD_DETECT_Pin;
  GPIO_InitStruct.Mode = GPIO_MODE_INPUT;
  GPIO_InitStruct.Pull = GPIO_NOPULL;
  HAL_GPIO_Init(SD_CARD_DETECT_GPIO_Port, &GPIO_InitStruct);

  /*Configure GPIO pins : GPIO_OUTPUT_HEATPAD_FILL_Pin GPIO_OUTPUT_HEATPAD_DUMP_Pin */
  GPIO_InitStruct.Pin = GPIO_OUTPUT_HEATPAD_FILL_Pin|GPIO_OUTPUT_HEATPAD_DUMP_Pin;
  GPIO_InitStruct.Mode = GPIO_MODE_OUTPUT_PP;
  GPIO_InitStruct.Pull = GPIO_NOPULL;
  GPIO_InitStruct.Speed = GPIO_SPEED_FREQ_LOW;
  HAL_GPIO_Init(GPIOC, &GPIO_InitStruct);

  /*Configure GPIO pins : GPIO_OUPUT_EMATCH_2_UNUSED_Pin GPIO_OUTPUT_EMATCH_DUMP_Pin */
  GPIO_InitStruct.Pin = GPIO_OUPUT_EMATCH_2_UNUSED_Pin|GPIO_OUTPUT_EMATCH_DUMP_Pin;
  GPIO_InitStruct.Mode = GPIO_MODE_OUTPUT_PP;
  GPIO_InitStruct.Pull = GPIO_NOPULL;
  GPIO_InitStruct.Speed = GPIO_SPEED_FREQ_LOW;
  HAL_GPIO_Init(GPIOE, &GPIO_InitStruct);

}

/* USER CODE BEGIN 4 */

// These should only link HAL to instance and set base function pointers

void setupGPIOs() {
  gpios[FILLING_STATION_FILL_VALVE_CLOSED_GPIO_INDEX].errorStatus.bits.notInitialized = 1;
  gpios[FILLING_STATION_FILL_VALVE_CLOSED_GPIO_INDEX].externalHandle = GPIOE;
  gpios[FILLING_STATION_FILL_VALVE_CLOSED_GPIO_INDEX].pinNumber = GPIO_PIN_9;
  gpios[FILLING_STATION_FILL_VALVE_CLOSED_GPIO_INDEX].mode = GPIO_INPUT_MODE;
  gpios[FILLING_STATION_FILL_VALVE_CLOSED_GPIO_INDEX].init = (GPIO_init)GPIOHAL_init;

  gpios[FILLING_STATION_FILL_VALVE_OPENED_GPIO_INDEX].errorStatus.bits.notInitialized = 1;
  gpios[FILLING_STATION_FILL_VALVE_OPENED_GPIO_INDEX].externalHandle = GPIOE;
  gpios[FILLING_STATION_FILL_VALVE_OPENED_GPIO_INDEX].pinNumber = GPIO_PIN_10;
  gpios[FILLING_STATION_FILL_VALVE_OPENED_GPIO_INDEX].mode = GPIO_INPUT_MODE;
  gpios[FILLING_STATION_FILL_VALVE_OPENED_GPIO_INDEX].init = (GPIO_init)GPIOHAL_init;

  gpios[FILLING_STATION_DUMP_VALVE_CLOSED_GPIO_INDEX].errorStatus.bits.notInitialized = 1;
  gpios[FILLING_STATION_DUMP_VALVE_CLOSED_GPIO_INDEX].externalHandle = GPIOE;
  gpios[FILLING_STATION_DUMP_VALVE_CLOSED_GPIO_INDEX].pinNumber = GPIO_PIN_8;
  gpios[FILLING_STATION_DUMP_VALVE_CLOSED_GPIO_INDEX].mode = GPIO_INPUT_MODE;
  gpios[FILLING_STATION_DUMP_VALVE_CLOSED_GPIO_INDEX].init = (GPIO_init)GPIOHAL_init;

  gpios[FILLING_STATION_DUMP_VALVE_OPENED_GPIO_INDEX].errorStatus.bits.notInitialized = 1;
  gpios[FILLING_STATION_DUMP_VALVE_OPENED_GPIO_INDEX].externalHandle = GPIOE;
  gpios[FILLING_STATION_DUMP_VALVE_OPENED_GPIO_INDEX].pinNumber = GPIO_PIN_7;
  gpios[FILLING_STATION_DUMP_VALVE_OPENED_GPIO_INDEX].mode = GPIO_INPUT_MODE;
  gpios[FILLING_STATION_DUMP_VALVE_OPENED_GPIO_INDEX].init = (GPIO_init)GPIOHAL_init;

  gpios[FILLING_STATION_FILL_HEATPAD_GPIO_INDEX].errorStatus.bits.notInitialized = 1;
  gpios[FILLING_STATION_FILL_HEATPAD_GPIO_INDEX].externalHandle = GPIOC;
  gpios[FILLING_STATION_FILL_HEATPAD_GPIO_INDEX].pinNumber = GPIO_PIN_10;
  gpios[FILLING_STATION_FILL_HEATPAD_GPIO_INDEX].mode = GPIO_OUTPUT_MODE;
  gpios[FILLING_STATION_FILL_HEATPAD_GPIO_INDEX].init = (GPIO_init)GPIOHAL_init;

  gpios[FILLING_STATION_DUMP_HEATPAD_GPIO_INDEX].errorStatus.bits.notInitialized = 1;
  gpios[FILLING_STATION_DUMP_HEATPAD_GPIO_INDEX].externalHandle = GPIOC;
  gpios[FILLING_STATION_DUMP_HEATPAD_GPIO_INDEX].pinNumber = GPIO_PIN_11;
  gpios[FILLING_STATION_DUMP_HEATPAD_GPIO_INDEX].mode = GPIO_OUTPUT_MODE;
  gpios[FILLING_STATION_DUMP_HEATPAD_GPIO_INDEX].init = (GPIO_init)GPIOHAL_init;

  gpios[FILLING_STATION_IGNITER_DUMP_GPIO_INDEX].errorStatus.bits.notInitialized = 1;
  gpios[FILLING_STATION_IGNITER_DUMP_GPIO_INDEX].externalHandle = GPIOE;
  gpios[FILLING_STATION_IGNITER_DUMP_GPIO_INDEX].pinNumber = GPIO_PIN_0;
  gpios[FILLING_STATION_IGNITER_DUMP_GPIO_INDEX].mode = GPIO_OUTPUT_MODE;
  gpios[FILLING_STATION_IGNITER_DUMP_GPIO_INDEX].init = (GPIO_init)GPIOHAL_init;

  gpios[FILLING_STATION_BUTTON_EMERGENCY_STOP_GPIO_INDEX].errorStatus.bits.notInitialized = 1;
  gpios[FILLING_STATION_BUTTON_EMERGENCY_STOP_GPIO_INDEX].externalHandle = GPIOE;
  gpios[FILLING_STATION_BUTTON_EMERGENCY_STOP_GPIO_INDEX].pinNumber = GPIO_PIN_5;
  gpios[FILLING_STATION_BUTTON_EMERGENCY_STOP_GPIO_INDEX].mode = GPIO_INPUT_MODE;
  gpios[FILLING_STATION_BUTTON_EMERGENCY_STOP_GPIO_INDEX].init = (GPIO_init)GPIOHAL_init;
}

void setupPWMs() {
  pwms[FILLING_STATION_FILL_VALVE_PWM_INDEX].errorStatus.bits.notInitialized = 1;
  pwms[FILLING_STATION_FILL_VALVE_PWM_INDEX].init = (PWM_init)PWMHAL_init;
  pwms[FILLING_STATION_FILL_VALVE_PWM_INDEX].externalHandle = &htim4;
  pwms[FILLING_STATION_FILL_VALVE_PWM_INDEX].timer = TIM4;
  pwms[FILLING_STATION_FILL_VALVE_PWM_INDEX].channel = TIM_CHANNEL_3;

  pwms[FILLING_STATION_DUMP_VALVE_PWM_INDEX].errorStatus.bits.notInitialized = 1;
  pwms[FILLING_STATION_DUMP_VALVE_PWM_INDEX].init = (PWM_init)PWMHAL_init;
  pwms[FILLING_STATION_DUMP_VALVE_PWM_INDEX].externalHandle = &htim4;
  pwms[FILLING_STATION_DUMP_VALVE_PWM_INDEX].timer = TIM4;
  pwms[FILLING_STATION_DUMP_VALVE_PWM_INDEX].channel = TIM_CHANNEL_2;
}

void setupADC() {
  adc.errorStatus.bits.notInitialized = 1;
  adc.init = (ADC12_init)ADC12HAL_init;
  adc.externalHandle = &hadc1;

  adc.channels[FILLING_STATION_FILL_VALVE_THERMISTANCE_ADC_CHANNEL_INDEX].errorStatus.bits.notInitialized = 1;
  adc.channels[FILLING_STATION_FILL_VALVE_THERMISTANCE_ADC_CHANNEL_INDEX].init = (ADC12Channel_init)ADC12ChannelHAL_init;
  adc.channels[FILLING_STATION_FILL_VALVE_THERMISTANCE_ADC_CHANNEL_INDEX].rank = 1;
  adc.channels[FILLING_STATION_FILL_VALVE_THERMISTANCE_ADC_CHANNEL_INDEX].sampleTime_adcClockCyles = ADC_SAMPLETIME_28CYCLES;
  adc.channels[FILLING_STATION_FILL_VALVE_THERMISTANCE_ADC_CHANNEL_INDEX].channelNumber = 0;

  adc.channels[FILLING_STATION_QUICK_CONNECT_THERMISTANCE_ADC_CHANNEL_INDEX].errorStatus.bits.notInitialized = 1;
  adc.channels[FILLING_STATION_QUICK_CONNECT_THERMISTANCE_ADC_CHANNEL_INDEX].init = (ADC12Channel_init)ADC12ChannelHAL_init;
  adc.channels[FILLING_STATION_QUICK_CONNECT_THERMISTANCE_ADC_CHANNEL_INDEX].rank = 2;
  adc.channels[FILLING_STATION_QUICK_CONNECT_THERMISTANCE_ADC_CHANNEL_INDEX].sampleTime_adcClockCyles = ADC_SAMPLETIME_28CYCLES;
  adc.channels[FILLING_STATION_QUICK_CONNECT_THERMISTANCE_ADC_CHANNEL_INDEX].channelNumber = 1;

  adc.channels[FILLING_STATION_NOS_VALVE_THERMISTANCE_ADC_CHANNEL_INDEX].errorStatus.bits.notInitialized = 1;
  adc.channels[FILLING_STATION_NOS_VALVE_THERMISTANCE_ADC_CHANNEL_INDEX].init = (ADC12Channel_init)ADC12ChannelHAL_init;
  adc.channels[FILLING_STATION_NOS_VALVE_THERMISTANCE_ADC_CHANNEL_INDEX].rank = 3;
  adc.channels[FILLING_STATION_NOS_VALVE_THERMISTANCE_ADC_CHANNEL_INDEX].sampleTime_adcClockCyles = ADC_SAMPLETIME_28CYCLES;
  adc.channels[FILLING_STATION_NOS_VALVE_THERMISTANCE_ADC_CHANNEL_INDEX].channelNumber = 2;

  adc.channels[FILLING_STATION_IPA_VALVE_THERMISTANCE_ADC_CHANNEL_INDEX].errorStatus.bits.notInitialized = 1;
  adc.channels[FILLING_STATION_IPA_VALVE_THERMISTANCE_ADC_CHANNEL_INDEX].init = (ADC12Channel_init)ADC12ChannelHAL_init;
  adc.channels[FILLING_STATION_IPA_VALVE_THERMISTANCE_ADC_CHANNEL_INDEX].rank = 4;
  adc.channels[FILLING_STATION_IPA_VALVE_THERMISTANCE_ADC_CHANNEL_INDEX].sampleTime_adcClockCyles = ADC_SAMPLETIME_28CYCLES;
  adc.channels[FILLING_STATION_IPA_VALVE_THERMISTANCE_ADC_CHANNEL_INDEX].channelNumber = 3;

  adc.channels[FILLING_STATION_TANK_LOAD_CELL_ADC_CHANNEL_INDEX].errorStatus.bits.notInitialized = 1;
  adc.channels[FILLING_STATION_TANK_LOAD_CELL_ADC_CHANNEL_INDEX].init = (ADC12Channel_init)ADC12ChannelHAL_init;
  adc.channels[FILLING_STATION_TANK_LOAD_CELL_ADC_CHANNEL_INDEX].rank = 5;
  adc.channels[FILLING_STATION_TANK_LOAD_CELL_ADC_CHANNEL_INDEX].sampleTime_adcClockCyles = ADC_SAMPLETIME_28CYCLES;
  adc.channels[FILLING_STATION_TANK_LOAD_CELL_ADC_CHANNEL_INDEX].channelNumber = 4;

  adc.channels[FILLING_STATION_COMBUSTION_CHAMBER_LOAD_CELL_ADC_CHANNEL_INDEX].errorStatus.bits.notInitialized = 1;
  adc.channels[FILLING_STATION_COMBUSTION_CHAMBER_LOAD_CELL_ADC_CHANNEL_INDEX].init = (ADC12Channel_init)ADC12ChannelHAL_init;
  adc.channels[FILLING_STATION_COMBUSTION_CHAMBER_LOAD_CELL_ADC_CHANNEL_INDEX].rank = 6;
  adc.channels[FILLING_STATION_COMBUSTION_CHAMBER_LOAD_CELL_ADC_CHANNEL_INDEX].sampleTime_adcClockCyles = ADC_SAMPLETIME_28CYCLES;
  adc.channels[FILLING_STATION_COMBUSTION_CHAMBER_LOAD_CELL_ADC_CHANNEL_INDEX].channelNumber = 5;
}

void setupUART() {
  uart.errorStatus.bits.notInitialized = 1;
  uart.init = (UART_init)UARTHAL_init;
  uart.externalHandle = &huart1;
}

void setupValves() {
  for (uint8_t i = 0; i < FILLING_STATION_VALVE_AMOUNT; i++) {
    valves[i].errorStatus.bits.notInitialized = 1;
    valves[i].init = (Valve_init)HBL388_init;
  }
}

void setupHeaters() {
  for (uint8_t i = 0; i < FILLING_STATION_HEATPAD_AMOUNT; i++) {
    heaters[i].errorStatus.bits.notInitialized = 1;
    heaters[i].init = (Heater_init)FTVOGUEanpih0ztre_init;
  }
}

void setupIgniter() {
  igniter.errorStatus.bits.notInitialized = 1;
  igniter.init = (Igniter_init)EstesC6_init;
}

void setupEmergencyButton() {
  emergencyButton.errorStatus.bits.notInitialized = 1;
  emergencyButton.init = (Button_init)ButtonActiveHigh_init;
}

void setupTemperatureSensors() {
  for (uint8_t i = 0; i < FILLING_STATION_TEMPERATURE_SENSOR_AMOUNT; i++) {
    temperatureSensors[i].errorStatus.bits.notInitialized = 1;
    temperatureSensors[i].init = (TemperatureSensor_init)NTC3950_init;
  }
}

void setupTelecommunication(){
  telecommunication.errorStatus.bits.notInitialized = 1;
  telecommunication.init = (Telecommunication_init)XBEE_init;
}

void setupPressureSensors() {
  for (uint8_t i = 0; i < FILLING_STATION_PRESSURE_SENSOR_AMOUNT; i++) {
    pressureSensors[i].errorStatus.bits.notInitialized = 1;
    pressureSensors[i].init = (PressureSensor_init)ETM375_init;
  }
}

void setupStorageDevices() {
  for (uint8_t i = 0; i < 1; i++) {
    storageDevices[i].errorStatus.bits.notInitialized = 1;
  }

  storageDevices[0].init = (Storage_init)SDCard_init;
  storageDevices[0].externalInstance = &hsd;
  storageDevices[0].fs = &SDFatFS;
  storageDevices[0].volumePath = SDPath;
}
/* USER CODE END 4 */

void Error_Handler(void)
{
  __disable_irq();
  while (1)
  {
  }
}
